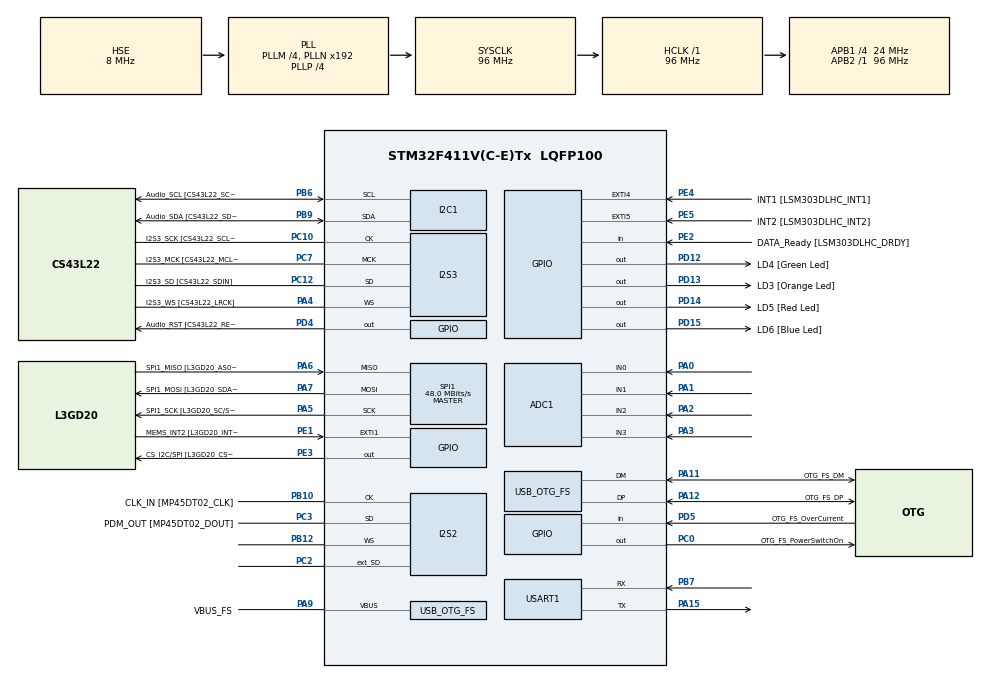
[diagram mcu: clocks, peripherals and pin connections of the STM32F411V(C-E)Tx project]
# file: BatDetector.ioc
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ADC1.Channel-0\#ChannelRegularConversion=ADC_CHANNEL_0
ADC1.Channel-1\#ChannelRegularConversion=ADC_CHANNEL_1
ADC1.Channel-2\#ChannelRegularConversion=ADC_CHANNEL_2
ADC1.Channel-3\#ChannelRegularConversion=ADC_CHANNEL_3
ADC1.ClockPrescaler=ADC_CLOCK_SYNC_PCLK_DIV8
ADC1.ContinuousConvMode=ENABLE
ADC1.DMAContinuousRequests=ENABLE
ADC1.EOCSelection=ADC_EOC_SEQ_CONV
ADC1.NbrOfConversion=4
ADC1.NbrOfConversionFlag=1
ADC1.Rank-0\#ChannelRegularConversion=1
ADC1.Rank-1\#ChannelRegularConversion=2
ADC1.Rank-2\#ChannelRegularConversion=3
ADC1.Rank-3\#ChannelRegularConversion=4
ADC1.SamplingTime-0\#ChannelRegularConversion=ADC_SAMPLETIME_3CYCLES
ADC1.SamplingTime-1\#ChannelRegularConversion=ADC_SAMPLETIME_3CYCLES
ADC1.SamplingTime-2\#ChannelRegularConversion=ADC_SAMPLETIME_3CYCLES
ADC1.SamplingTime-3\#ChannelRegularConversion=ADC_SAMPLETIME_3CYCLES
ADC1.ScanConvMode=ENABLE
ADC1.master=1
Dma.ADC1.0.Direction=DMA_PERIPH_TO_MEMORY
Dma.ADC1.0.FIFOMode=DMA_FIFOMODE_DISABLE
Dma.ADC1.0.Instance=DMA2_Stream0
Dma.ADC1.0.MemDataAlignment=DMA_MDATAALIGN_WORD
Dma.ADC1.0.MemInc=DMA_MINC_ENABLE
Dma.ADC1.0.Mode=DMA_CIRCULAR
Dma.ADC1.0.PeriphDataAlignment=DMA_PDATAALIGN_WORD
Dma.ADC1.0.PeriphInc=DMA_PINC_DISABLE
Dma.ADC1.0.Priority=DMA_PRIORITY_LOW
Dma.Request0=ADC1
I2S2.AudioFreq=I2S_AUDIOFREQ_96K
I2S2.ErrorAudioFreq=0.15 %
I2S2.FullDuplexMode=I2S_FULLDUPLEXMODE_ENABLE
I2S2.Instance=SPI$Index
I2S2.RealAudioFreq=96.153 KHz
I2S2.VirtualMode=I2S_MODE_MASTER
I2S3.AudioFreq=I2S_AUDIOFREQ_96K
I2S3.ErrorAudioFreq=-6.99 %
I2S3.FullDuplexMode=I2S_FULLDUPLEXMODE_DISABLE
I2S3.Instance=SPI$Index
I2S3.RealAudioFreq=89.285 KHz
I2S3.VirtualMode=I2S_MODE_MASTER
Mcu.Family=STM32F4
Mcu.Name=STM32F411V(C-E)Tx
Mcu.Package=LQFP100
NVIC.DMA2_Stream0_IRQn=true\:0\:0\:false\:false\:true\:false\:true\:true
NVIC.OTG_FS_IRQn=true\:0\:0\:false\:false\:true\:true\:true\:true
NVIC.PriorityGroup=NVIC_PRIORITYGROUP_0
PA0-WKUP.Signal=ADCx_IN0
PA1.Signal=ADCx_IN1
PA10.GPIO_Label=OTG_FS_ID
PA10.Signal=USB_OTG_FS_ID
PA11.GPIO_Label=OTG_FS_DM
PA11.Mode=Host_Only
PA11.Signal=USB_OTG_FS_DM
PA12.GPIO_Label=OTG_FS_DP
PA12.Mode=Host_Only
PA12.Signal=USB_OTG_FS_DP
PA13.GPIO_Label=SWDIO
PA13.Mode=Serial_Wire
PA13.Signal=SYS_JTMS-SWDIO
PA14.GPIO_Label=SWCLK
PA14.Mode=Serial_Wire
PA14.Signal=SYS_JTCK-SWCLK
PA15.Mode=Asynchronous
PA15.Signal=USART1_TX
PA2.Signal=ADCx_IN2
PA3.Signal=ADCx_IN3
PA4.GPIO_Label=I2S3_WS [CS43L22_LRCK]
PA4.GPIO_Mode=GPIO_MODE_AF_PP
PA4.GPIO_PuPd=GPIO_NOPULL
PA4.GPIO_Speed=GPIO_SPEED_FREQ_LOW
PA4.Mode=Half_Duplex_Master
PA4.Signal=I2S3_WS
PA5.GPIO_Label=SPI1_SCK [L3GD20_SC/SPC]
PA5.Mode=Full_Duplex_Master
PA5.Signal=SPI1_SCK
PA6.GPIO_Label=SPI1_MISO [L3GD20_AS0/SDO]
PA6.Mode=Full_Duplex_Master
PA6.Signal=SPI1_MISO
PA7.GPIO_Label=SPI1_MOSI [L3GD20_SDA/SDI/SDO]
PA7.Mode=Full_Duplex_Master
PA7.Signal=SPI1_MOSI
PA9.GPIO_Label=VBUS_FS
PA9.Mode=Activate_VBUS
PA9.Signal=USB_OTG_FS_VBUS
PB10.GPIO_Label=CLK_IN [MP45DT02_CLK]
PB10.Mode=Full_Duplex_Master
PB10.Signal=I2S2_CK
PB12.Mode=Full_Duplex_Master
PB12.Signal=I2S2_WS
PB3.GPIO_Label=SWO
PB3.Signal=SYS_JTDO-SWO
PB6.GPIO_Label=Audio_SCL [CS43L22_SCL]
PB6.GPIO_Mode=GPIO_MODE_AF_OD
PB6.GPIO_Pu=GPIO_PULLUP
PB6.GPIO_PuPd=GPIO_NOPULL
PB6.GPIO_Speed=GPIO_SPEED_FREQ_LOW
PB6.Mode=I2C
PB6.Signal=I2C1_SCL
PB7.Mode=Asynchronous
PB7.Signal=USART1_RX
PB9.GPIO_Label=Audio_SDA [CS43L22_SDA]
PB9.GPIO_Mode=GPIO_MODE_AF_OD
PB9.GPIO_Pu=GPIO_PULLUP
PB9.GPIO_PuPd=GPIO_NOPULL
PB9.GPIO_Speed=GPIO_SPEED_FREQ_LOW
PB9.Mode=I2C
PB9.Signal=I2C1_SDA
PC0.GPIO_Label=OTG_FS_PowerSwitchOn
PC0.PinState=GPIO_PIN_SET
PC0.Signal=GPIO_Output
PC10.GPIO_Label=I2S3_SCK [CS43L22_SCLK]
PC10.GPIO_Mode=GPIO_MODE_AF_PP
PC10.GPIO_PuPd=GPIO_NOPULL
PC10.GPIO_Speed=GPIO_SPEED_FREQ_LOW
PC10.Mode=Half_Duplex_Master
PC10.Signal=I2S3_CK
PC12.GPIO_Label=I2S3_SD [CS43L22_SDIN]
PC12.GPIO_Mode=GPIO_MODE_AF_PP
PC12.GPIO_PuPd=GPIO_NOPULL
PC12.GPIO_Speed=GPIO_SPEED_FREQ_LOW
PC12.Mode=Half_Duplex_Master
PC12.Signal=I2S3_SD
PC14-OSC32_IN.GPIO_Label=PC14-OSC32_IN
PC14-OSC32_IN.Mode=LSE-External-Oscillator
PC14-OSC32_IN.Signal=RCC_OSC32_IN
PC15-OSC32_OUT.GPIO_Label=PC15-OSC32_OUT
PC15-OSC32_OUT.Mode=LSE-External-Oscillator
PC15-OSC32_OUT.Signal=RCC_OSC32_OUT
PC2.Mode=Full_Duplex_Master
PC2.Signal=I2S2_ext_SD
PC3.GPIO_Label=PDM_OUT [MP45DT02_DOUT]
PC3.Mode=Full_Duplex_Master
PC3.Signal=I2S2_SD
PC7.GPIO_Label=I2S3_MCK [CS43L22_MCLK]
PC7.GPIO_Mode=GPIO_MODE_AF_PP
PC7.GPIO_PuPd=GPIO_NOPULL
PC7.GPIO_Speed=GPIO_SPEED_FREQ_LOW
PC7.Mode=Master_Clock_Activated
PC7.Signal=I2S3_MCK
PD12.GPIO_Label=LD4 [Green Led]
PD12.GPIO_PuPd=GPIO_NOPULL
PD12.GPIO_Speed=GPIO_SPEED_FREQ_LOW
PD12.Signal=GPIO_Output
PD13.GPIO_Label=LD3 [Orange Led]
PD13.GPIO_PuPd=GPIO_NOPULL
PD13.GPIO_Speed=GPIO_SPEED_FREQ_LOW
PD13.Signal=GPIO_Output
PD14.GPIO_Label=LD5 [Red Led]
PD14.GPIO_PuPd=GPIO_NOPULL
PD14.GPIO_Speed=GPIO_SPEED_FREQ_LOW
PD14.Signal=GPIO_Output
PD15.GPIO_Label=LD6 [Blue Led]
PD15.GPIO_PuPd=GPIO_NOPULL
PD15.GPIO_Speed=GPIO_SPEED_FREQ_LOW
PD15.Signal=GPIO_Output
PD4.GPIO_Label=Audio_RST [CS43L22_RESET]
PD4.Signal=GPIO_Output
PD5.GPIO_Label=OTG_FS_OverCurrent
PD5.Signal=GPIO_Input
PE1.GPIO_Label=MEMS_INT2 [L3GD20_INT2]
PE1.GPIO_ModeDefaultEXTI=GPIO_MODE_EVT_RISING
PE1.Signal=GPXTI1
PE2.GPIO_Label=DATA_Ready [LSM303DLHC_DRDY]
PE2.Signal=GPIO_Input
PE3.GPIO_Label=CS_I2C/SPI [L3GD20_CS_I2C/SPI]
PE3.Signal=GPIO_Output
PE4.GPIO_Label=INT1 [LSM303DLHC_INT1]
PE4.GPIO_ModeDefaultEXTI=GPIO_MODE_EVT_RISING
PE4.Signal=GPXTI4
PE5.GPIO_Label=INT2 [LSM303DLHC_INT2]
PE5.GPIO_ModeDefaultEXTI=GPIO_MODE_EVT_RISING
PE5.Signal=GPXTI5
PH0\ -\ OSC_IN.GPIO_Label=PH0-OSC_IN
PH0\ -\ OSC_IN.Mode=HSE-External-Oscillator
PH0\ -\ OSC_IN.Signal=RCC_OSC_IN
PH1\ -\ OSC_OUT.GPIO_Label=PH1-OSC_OUT
PH1\ -\ OSC_OUT.Mode=HSE-External-Oscillator
PH1\ -\ OSC_OUT.Signal=RCC_OSC_OUT
ProjectManager.HeapSize=0x200
ProjectManager.StackSize=0x400
ProjectManager.TargetToolchain=STM32CubeIDE
RCC.48MHZClocksFreq_Value=48000000
RCC.AHBFreq_Value=96000000
RCC.APB1CLKDivider=RCC_HCLK_DIV4
RCC.APB1Freq_Value=24000000
RCC.APB1TimFreq_Value=48000000
RCC.APB2Freq_Value=96000000
RCC.APB2TimFreq_Value=96000000
RCC.CortexFreq_Value=96000000
RCC.HCLKFreq_Value=96000000
RCC.HSE_VALUE=8000000
RCC.HSI_VALUE=16000000
RCC.PLLI2SM=5
RCC.PLLI2SN=200
RCC.PLLM=4
RCC.PLLP=RCC_PLLP_DIV4
RCC.PLLQ=8
RCC.SYSCLKFreq_VALUE=96000000
RCC.SYSCLKSource=RCC_SYSCLKSOURCE_PLLCLK
RCC.VCOOutputFreq_Value=384000000
SH.ADCx_IN0.0=ADC1_IN0,IN0
SH.ADCx_IN1.0=ADC1_IN1,IN1
SH.ADCx_IN2.0=ADC1_IN2,IN2
SH.ADCx_IN3.0=ADC1_IN3,IN3
SPI1.BaudRatePrescaler=SPI_BAUDRATEPRESCALER_2
SPI1.CalculateBaudRate=48.0 MBits/s
SPI1.Direction=SPI_DIRECTION_2LINES
SPI1.Mode=SPI_MODE_MASTER
SPI1.VirtualType=VM_MASTER
STMicroelectronics.X-CUBE-ALGOBUILD.1.4.0.LibraryCcDSPOoLibraryJjDSPOoLibrary=true
USART1.Parity=PARITY_EVEN
USART1.VirtualMode=VM_ASYNC
USB_HOST.BSP.number=1
USB_HOST.USBH_HandleTypeDef=hUsbHostFS
USB_HOST.VirtualModeFS=Cdc
USB_HOST0.BSP.STBoard=false
USB_HOST0.BSP.api=Unknown
USB_HOST0.BSP.instance=PC0
USB_HOST0.BSP.ip=GPIO
USB_HOST0.BSP.mode=Output
USB_HOST0.BSP.name=Drive_VBUS_FS
USB_HOST0.BSP.solution=PC0
USB_OTG_FS.VirtualMode=Host_Only
USB_OTG_FS.phy_itface=HCD_PHY_EMBEDDED
VP_STMicroelectronics.X-CUBE-ALGOBUILD_VS_DSPOoLibraryJjLibrary_1.4.0_1.4.0.Mode=DSPOoLibraryJjLibrary
VP_USB_HOST_VS_USB_HOST_CDC_FS.Mode=CDC_FS
board=STM32F411E-DISCO

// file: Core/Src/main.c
/* USER CODE BEGIN Header */
/**
  ******************************************************************************
  * @file           : main.c
  * @brief          : Main program body
  ******************************************************************************
  * @attention
  *
  * Copyright (c) 2024 STMicroelectronics.
  * All rights reserved.
  *
  * This software is licensed under terms that can be found in the LICENSE file
  * in the root directory of this software component.
  * If no LICENSE file comes with this software, it is provided AS-IS.
  *
  ******************************************************************************
  */
/* USER CODE END Header */
#include "main.h"
#include "adc.h"
#include "dma.h"
#include "i2c.h"
#include "i2s.h"
#include "spi.h"
#include "usart.h"
#include "usb_host.h"
#include "gpio.h"

/* USER CODE BEGIN Includes */
#include "arm_math.h"
#include "stdio.h"
#include <stdbool.h>
#include <string.h>
#include <stdarg.h>

/* USER CODE END Includes */

/* USER CODE BEGIN PV */
uint32_t adc_values[4] = {0};
//int count = 0;
/* USER CODE END PV */

void SystemClock_Config(void);
void PeriphCommonClock_Config(void);
void MX_USB_HOST_Process(void);

int main(void)
{

  /* MCU Configuration--------------------------------------------------------*/

  /* Reset of all peripherals, Initializes the Flash interface and the Systick. */
  HAL_Init();

  /* Configure the system clock */
  SystemClock_Config();

  /* Configure the peripherals common clocks */
  PeriphCommonClock_Config();

  /* Initialize all configured peripherals */
  MX_GPIO_Init();
  MX_DMA_Init();
  MX_I2C1_Init();
  MX_I2S2_Init();
  MX_I2S3_Init();
  MX_SPI1_Init();
  MX_USB_HOST_Init();
  MX_ADC1_Init();
  MX_USART1_UART_Init();
  /* USER CODE BEGIN 2 */
  if (HAL_ADC_Start_DMA(&hadc1, adc_values, 4) != HAL_OK)
  {
      // Start Error
	  printf("ADC Start Error\n");
      Error_Handler();
  }
  /* USER CODE END 2 */

  /* Infinite loop */
  /* USER CODE BEGIN WHILE */
  while (1)
  {

//	  count++;
//	  printf("HELLO WORLD count = %d \n", count);
//	  HAL_GPIO_TogglePin(GPIOD, GPIO_PIN_15);
//	  HAL_Delay(2000);
//
	  uint32_t max_value = adc_values[0];
	  int max_index = 0;

	  // find the maximum ADC value
	  for (int i = 1; i < 4; i++)
	  {
		  if (adc_values[i] > max_value)
		  {
			  max_value = adc_values[i];
			  max_index = i;
		  }
	  }

	  switch (max_index)
	  {
		  case 0:
			  HAL_GPIO_WritePin(GPIOD, GPIO_PIN_12, GPIO_PIN_SET);
			  HAL_GPIO_WritePin(GPIOD, GPIO_PIN_13, GPIO_PIN_RESET);
			  HAL_GPIO_WritePin(GPIOD, GPIO_PIN_14, GPIO_PIN_RESET);
			  HAL_GPIO_WritePin(GPIOD, GPIO_PIN_15, GPIO_PIN_RESET);
			  break;
		  case 1:
			  HAL_GPIO_WritePin(GPIOD, GPIO_PIN_12, GPIO_PIN_RESET);
			  HAL_GPIO_WritePin(GPIOD, GPIO_PIN_13, GPIO_PIN_SET);
			  HAL_GPIO_WritePin(GPIOD, GPIO_PIN_14, GPIO_PIN_RESET);
			  HAL_GPIO_WritePin(GPIOD, GPIO_PIN_15, GPIO_PIN_RESET);
			  break;
		  case 2:
			  HAL_GPIO_WritePin(GPIOD, GPIO_PIN_12, GPIO_PIN_RESET);
			  HAL_GPIO_WritePin(GPIOD, GPIO_PIN_13, GPIO_PIN_RESET);
			  HAL_GPIO_WritePin(GPIOD, GPIO_PIN_14, GPIO_PIN_SET);
			  HAL_GPIO_WritePin(GPIOD, GPIO_PIN_15, GPIO_PIN_RESET);
			  break;
		  case 3:
			  HAL_GPIO_WritePin(GPIOD, GPIO_PIN_12, GPIO_PIN_RESET);
			  HAL_GPIO_WritePin(GPIOD, GPIO_PIN_13, GPIO_PIN_RESET);
			  HAL_GPIO_WritePin(GPIOD, GPIO_PIN_14, GPIO_PIN_RESET);
			  HAL_GPIO_WritePin(GPIOD, GPIO_PIN_15, GPIO_PIN_SET);
			  break;
		  default:
			  HAL_GPIO_WritePin(GPIOD, GPIO_PIN_12, GPIO_PIN_RESET);
			  HAL_GPIO_WritePin(GPIOD, GPIO_PIN_13, GPIO_PIN_RESET);
			  HAL_GPIO_WritePin(GPIOD, GPIO_PIN_14, GPIO_PIN_RESET);
			  HAL_GPIO_WritePin(GPIOD, GPIO_PIN_15, GPIO_PIN_RESET);
			  break;
	  }

	  HAL_Delay(1000);

//
    /* USER CODE END WHILE */
    MX_USB_HOST_Process();

  }
}

void SystemClock_Config(void)
{
  RCC_OscInitTypeDef RCC_OscInitStruct = {0};
  RCC_ClkInitTypeDef RCC_ClkInitStruct = {0};

  /** Configure the main internal regulator output voltage
  */
  __HAL_RCC_PWR_CLK_ENABLE();
  __HAL_PWR_VOLTAGESCALING_CONFIG(PWR_REGULATOR_VOLTAGE_SCALE1);

  /** Initializes the RCC Oscillators according to the specified parameters
  * in the RCC_OscInitTypeDef structure.
  */
  RCC_OscInitStruct.OscillatorType = RCC_OSCILLATORTYPE_HSE;
  RCC_OscInitStruct.HSEState = RCC_HSE_ON;
  RCC_OscInitStruct.PLL.PLLState = RCC_PLL_ON;
  RCC_OscInitStruct.PLL.PLLSource = RCC_PLLSOURCE_HSE;
  RCC_OscInitStruct.PLL.PLLM = 4;
  RCC_OscInitStruct.PLL.PLLN = 192;
  RCC_OscInitStruct.PLL.PLLP = RCC_PLLP_DIV4;
  RCC_OscInitStruct.PLL.PLLQ = 8;
  if (HAL_RCC_OscConfig(&RCC_OscInitStruct) != HAL_OK)
  {
    Error_Handler();
  }

  /** Initializes the CPU, AHB and APB buses clocks
  */
  RCC_ClkInitStruct.ClockType = RCC_CLOCKTYPE_HCLK|RCC_CLOCKTYPE_SYSCLK
                              |RCC_CLOCKTYPE_PCLK1|RCC_CLOCKTYPE_PCLK2;
  RCC_ClkInitStruct.SYSCLKSource = RCC_SYSCLKSOURCE_PLLCLK;
  RCC_ClkInitStruct.AHBCLKDivider = RCC_SYSCLK_DIV1;
  RCC_ClkInitStruct.APB1CLKDivider = RCC_HCLK_DIV4;
  RCC_ClkInitStruct.APB2CLKDivider = RCC_HCLK_DIV1;

  if (HAL_RCC_ClockConfig(&RCC_ClkInitStruct, FLASH_LATENCY_3) != HAL_OK)
  {
    Error_Handler();
  }
}

void PeriphCommonClock_Config(void)
{
  RCC_PeriphCLKInitTypeDef PeriphClkInitStruct = {0};

  /** Initializes the peripherals clock
  */
  PeriphClkInitStruct.PeriphClockSelection = RCC_PERIPHCLK_I2S;
  PeriphClkInitStruct.PLLI2S.PLLI2SN = 200;
  PeriphClkInitStruct.PLLI2S.PLLI2SM = 5;
  PeriphClkInitStruct.PLLI2S.PLLI2SR = 2;
  if (HAL_RCCEx_PeriphCLKConfig(&PeriphClkInitStruct) != HAL_OK)
  {
    Error_Handler();
  }
}

/* USER CODE BEGIN 4 */
int _write(int file, char *ptr, int len)
{
 for (int i = 0; i < len; i++)
  ITM_SendChar((*ptr++));
 return len;
}
/* USER CODE END 4 */

void Error_Handler(void)
{
  __disable_irq();
  while (1)
  {
  }
}
